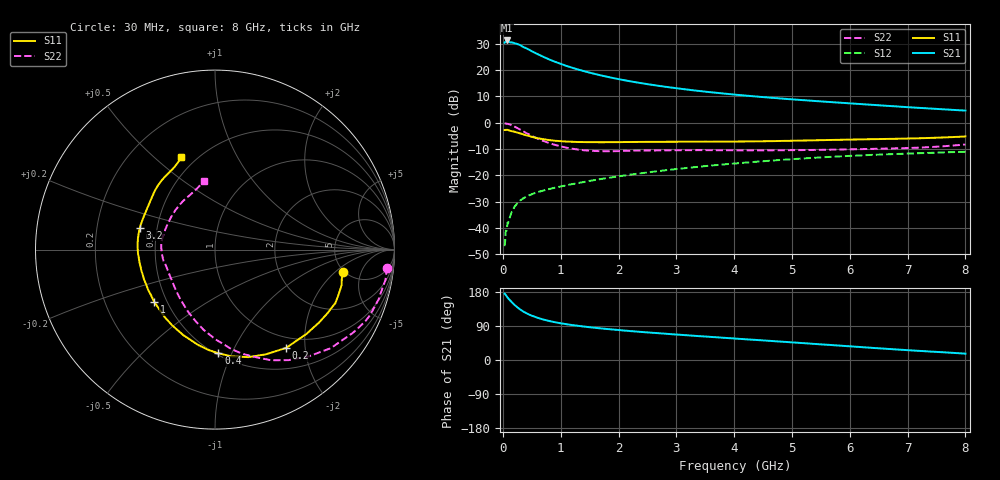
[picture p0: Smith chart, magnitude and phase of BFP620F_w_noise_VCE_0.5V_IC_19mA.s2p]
! Infineon Technologies  Discrete & RF Semiconductors
! BFP620F
! VCE =  0.5 V,  IC =  19 mA
! Common Emitter S-Parameters:  Dec 2014
# GHz  S  MA  R  50
!  f  S11  S21  S12  S22
! GHz  MAG  ANG  MAG  ANG  MAG  ANG  MAG  ANG
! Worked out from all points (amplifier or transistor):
!   95 points, 30 MHz to 8 GHz, reference 50 ohm
!   highest |S21| = 31.3 dB at 70 MHz (marker M1)
!   |S21| within 3 dB of that: start of sweep to 407.7 MHz
!   unconditionally stable (mu >= 1): 2.868 GHz to end of sweep
!   at 300 MHz: K = 0.26, MSG = 29.5 dB, |S12| = -29.6 dB
!   at 3.3 GHz: K = 1.01, MAG = 13.9 dB, |S12| = -16.9 dB
!   at 8 GHz: K = 1.07, MAG = 6.2 dB, |S12| = -11.1 dB
!   lowest NFmin = 0.81 dB at 450 MHz
!   S11 on the Smith chart (normalised r, x): 30 MHz: 4.92, -2.57; 200 MHz: 0.82, -1.65; 400 MHz: 0.51, -0.89; 1 GHz: 0.43, -0.31; 3.2 GHz: 0.40, +0.12; 8 GHz: 0.42, +0.61
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0.03  0.7263 -9.8  33.08 175.1  0.0045 89.0  0.9642 -6.0
0.06  0.7323 -18.5  36.2 169.5  0.0087 78.6  0.9583 -12.5
0.07  0.7327 -20.9  36.65 167.2  0.0098 84.0  0.9547 -14.6
0.08  0.7339 -24.0  36.56 165.1  0.0125 82.7  0.9529 -16.9
0.12  0.7077 -35.2  33.87 158.0  0.0158 74.8  0.9288 -25.3
0.15  0.6931 -42.7  33.87 153.3  0.0197 72.3  0.8969 -31.2
0.2  0.676 -54.1  32.53 145.6  0.0251 68.1  0.8472 -40.4
0.25  0.6488 -64.1  31.4 139.1  0.0294 64.8  0.7917 -48.7
0.3  0.6271 -72.8  29.87 133.2  0.0333 61.8  0.7394 -56.4
0.35  0.6017 -81.3  27.57 128.2  0.0364 59.0  0.6906 -63.2
0.4  0.5777 -88.1  26.21 124.1  0.0391 56.9  0.6389 -69.5
0.5  0.5396 -100.0  22.89 117.0  0.0437 54.0  0.563 -80.5
0.7  0.4853 -119.3  17.88 106.7  0.0513 51.7  0.4504 -98.3
1  0.4465 -139.4  13.15 96.9  0.0613 51.4  0.3552 -119.1
1.4  0.429 -157.3  9.581 88.3  0.0747 52.0  0.2998 -141.4
2  0.4275 -174.8  6.752 79.1  0.0959 52.2  0.2887 -164.4
2.7  0.434 171.5  5.022 70.6  0.1207 50.2  0.2976 -178.4
3.2  0.4355 163.6  4.253 65.1  0.1388 48.2  0.3008 174.6
4.1  0.4394 151.5  3.354 55.7  0.1711 43.3  0.2988 163.1
5.4  0.4636 137.6  2.59 42.3  0.216 34.5  0.3045 143.3
6.7  0.4933 123.9  2.077 28.9  0.2519 24.5  0.3242 122.8
8  0.5483 110.1  1.701 16.8  0.2802 14.7  0.3854 99.3
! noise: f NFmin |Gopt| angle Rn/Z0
0.45  0.81  0.06  3  0.21
0.9  0.87  0.06  11  0.18
1.5  0.92  0.06  12  0.14
1.8  0.94  0.05  14  0.14
1.9  0.95  0.03  31  0.16
2.4  0.98  0.02  68  0.15
3.5  1.06  0.03  160  0.14
5.5  1.2  0.14  227  0.1
6  1.23  0.14  248  0.14
